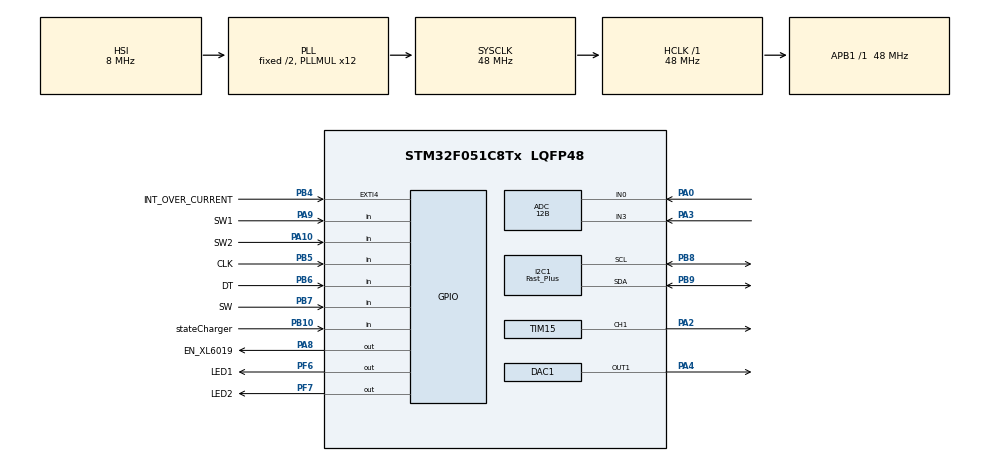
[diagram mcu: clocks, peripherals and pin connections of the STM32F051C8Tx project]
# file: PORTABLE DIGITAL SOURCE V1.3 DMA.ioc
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ADC.ContinuousConvMode=DISABLE
ADC.DMAContinuousRequests=DISABLE
ADC.DataAlign=ADC_DATAALIGN_RIGHT
ADC.DiscontinuousConvMode=DISABLE
ADC.EOCSelection=ADC_EOC_SINGLE_CONV
ADC.Resolution=ADC_RESOLUTION_12B
ADC.SamplingTime=ADC_SAMPLETIME_239CYCLES_5
ADC.ScanConvMode=ADC_SCAN_DIRECTION_FORWARD
DAC1.DAC_Trigger=DAC_TRIGGER_T6_TRGO
Dma.DAC1_CH1.1.Direction=DMA_MEMORY_TO_PERIPH
Dma.DAC1_CH1.1.Instance=DMA1_Channel3
Dma.DAC1_CH1.1.MemDataAlignment=DMA_MDATAALIGN_HALFWORD
Dma.DAC1_CH1.1.MemInc=DMA_MINC_ENABLE
Dma.DAC1_CH1.1.Mode=DMA_CIRCULAR
Dma.DAC1_CH1.1.PeriphDataAlignment=DMA_PDATAALIGN_HALFWORD
Dma.DAC1_CH1.1.PeriphInc=DMA_PINC_DISABLE
Dma.DAC1_CH1.1.Priority=DMA_PRIORITY_LOW
Dma.I2C1_TX.0.Direction=DMA_MEMORY_TO_PERIPH
Dma.I2C1_TX.0.Instance=DMA1_Channel2
Dma.I2C1_TX.0.MemDataAlignment=DMA_MDATAALIGN_BYTE
Dma.I2C1_TX.0.MemInc=DMA_MINC_ENABLE
Dma.I2C1_TX.0.Mode=DMA_NORMAL
Dma.I2C1_TX.0.PeriphDataAlignment=DMA_PDATAALIGN_BYTE
Dma.I2C1_TX.0.PeriphInc=DMA_PINC_DISABLE
Dma.I2C1_TX.0.Priority=DMA_PRIORITY_LOW
Dma.Request0=I2C1_TX
Dma.Request1=DAC1_CH1
I2C1.I2C_Speed_Mode=I2C_Fast_Plus
I2C1.Timing=0x00700814
Mcu.Family=STM32F0
Mcu.Name=STM32F051C8Tx
Mcu.Package=LQFP48
NVIC.DMA1_Channel2_3_IRQn=true\:3\:0\:true\:false\:true\:false\:true\:true
NVIC.EXTI4_15_IRQn=true\:0\:0\:false\:false\:true\:true\:true\:true
NVIC.I2C1_IRQn=true\:3\:0\:true\:false\:true\:true\:true\:true
NVIC.TIM14_IRQn=true\:3\:0\:true\:false\:true\:true\:true\:true
NVIC.TIM6_DAC_IRQn=true\:3\:0\:true\:false\:true\:true\:true\:true
PA0.Mode=IN0
PA0.Signal=ADC_IN0
PA10.GPIO_Label=SW2
PA10.GPIO_PuPd=GPIO_PULLUP
PA10.Signal=GPIO_Input
PA13.Mode=Serial_Wire
PA13.Signal=SYS_SWDIO
PA14.Mode=Serial_Wire
PA14.Signal=SYS_SWCLK
PA2.Signal=S_TIM15_CH1
PA3.Mode=IN3
PA3.Signal=ADC_IN3
PA4.Signal=COMP_DAC11_group
PA8.GPIO_Label=EN_XL6019
PA8.GPIO_PuPd=GPIO_NOPULL
PA8.Signal=GPIO_Output
PA9.GPIO_Label=SW1
PA9.GPIO_PuPd=GPIO_PULLUP
PA9.Signal=GPIO_Input
PB10.GPIO_Label=stateCharger
PB10.GPIO_PuPd=GPIO_PULLDOWN
PB10.Signal=GPIO_Input
PB4.GPIO_Label=INT_OVER_CURRENT
PB4.GPIO_ModeDefaultEXTI=GPIO_MODE_IT_RISING
PB4.GPIO_PuPd=GPIO_PULLDOWN
PB4.Signal=GPXTI4
PB5.GPIO_Label=CLK
PB5.GPIO_PuPd=GPIO_PULLUP
PB5.Signal=GPIO_Input
PB6.GPIO_Label=DT
PB6.GPIO_PuPd=GPIO_PULLUP
PB6.Signal=GPIO_Input
PB7.GPIO_Label=SW
PB7.GPIO_PuPd=GPIO_PULLUP
PB7.Signal=GPIO_Input
PB8.Mode=I2C
PB8.Signal=I2C1_SCL
PB9.Mode=I2C
PB9.Signal=I2C1_SDA
PF0-OSC_IN.Mode=HSE-External-Oscillator
PF0-OSC_IN.Signal=RCC_OSC_IN
PF1-OSC_OUT.Mode=HSE-External-Oscillator
PF1-OSC_OUT.Signal=RCC_OSC_OUT
PF6.GPIO_Label=LED1
PF6.Signal=GPIO_Output
PF7.GPIO_Label=LED2
PF7.Signal=GPIO_Output
ProjectManager.HeapSize=0x200
ProjectManager.StackSize=0x400
ProjectManager.TargetToolchain=STM32CubeIDE
RCC.AHBFreq_Value=48000000
RCC.APB1Freq_Value=48000000
RCC.APB1TimFreq_Value=48000000
RCC.HCLKFreq_Value=48000000
RCC.I2c1ClockSelection=RCC_I2C1CLKSOURCE_SYSCLK
RCC.PLLMUL=RCC_PLL_MUL12
RCC.SYSCLKFreq_VALUE=48000000
RCC.SYSCLKSource=RCC_SYSCLKSOURCE_PLLCLK
SH.COMP_DAC11_group.0=DAC1_OUT1,DAC_OUT1
SH.S_TIM15_CH1.0=TIM15_CH1,PWM Generation1 CH1
TIM14.Period=5-1
TIM14.Prescaler=48000-1
TIM15.Channel-PWM\ Generation1\ CH1=TIM_CHANNEL_1
TIM15.Period=20000-1
TIM15.Prescaler=24-1
TIM6.AutoReloadPreload=TIM_AUTORELOAD_PRELOAD_ENABLE
TIM6.Period=32000
TIM6.TIM_MasterOutputTrigger=TIM_TRGO_UPDATE
VP_TIM14_VS_ClockSourceINT.Mode=Enable_Timer
VP_TIM15_VS_ClockSourceINT.Mode=Internal
VP_TIM6_VS_ClockSourceINT.Mode=Enable_Timer
board=custom

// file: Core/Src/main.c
/* USER CODE BEGIN Header */
/**
  ******************************************************************************
  * @file           : main.c
  * @brief          : Main program body
  ******************************************************************************
  * @attention
  *
  * Copyright (c) 2023 STMicroelectronics.
  * All rights reserved.
  *
  * This software is licensed under terms that can be found in the LICENSE file
  * in the root directory of this software component.
  * If no LICENSE file comes with this software, it is provided AS-IS.
  *
  *******************************************************************************
  *
  * Author: Giovanny Anglas
  *  Created on:  Mayo 1, 2023 (aprox)
  *  Finished on: Octubre 26, 2023
  *
  ******************************************************************************
  */
/* USER CODE END Header */
#include "main.h"

/* USER CODE BEGIN Includes */
#include "stdio.h"
#include "math.h"

#include "Anglas_OLED_SSD1306.h"
#include "Anglas_IMAGENES.h"
#include "Anglas_ENCODER_ROT.h"
#include "Anglas_INA226.h"

#include "eeprom.h"
#include "eeprom_Config.h"
/* USER CODE END Includes */

ADC_HandleTypeDef hadc;

DAC_HandleTypeDef hdac1;
DMA_HandleTypeDef hdma_dac1_ch1;

I2C_HandleTypeDef hi2c1;
DMA_HandleTypeDef hdma_i2c1_tx;

TIM_HandleTypeDef htim6;
TIM_HandleTypeDef htim14;
TIM_HandleTypeDef htim15;

/* USER CODE BEGIN PV */
char buff[16];

float dac_12bits;
float power,current,voltage;
float Vbat,Vdac,set_Voltage_Encoder,difference;
static float limitCurrent;
float PWM,ENCO=0;
float rango=0.05,step=0.3;

uint8_t sumaSW1=0,contSW1=0,contSW2=0,powerSupply=0,muestrasADC=50;
uint8_t mem=0,mem1=0,mem2=0,memButton=0;
uint8_t suma=0,suma1=0,suma2=0;
uint8_t flagSW1=0,flagBattery=0,flag_Exceed_CurrentLimit=0;
uint8_t activate_Protec_Current=0;

uint32_t dacDMA[1];

extern float valor_Encoder;
extern float paso_Encoder;

uint8_t flagInicio=0;
uint8_t flagMode=0, flagModeSelect=1;

float adcVbat, adcNTC, TEMPERATURA;

/* USER CODE END PV */

void SystemClock_Config(void);
static void MX_GPIO_Init(void);
static void MX_DMA_Init(void);
static void MX_I2C1_Init(void);
static void MX_DAC1_Init(void);
static void MX_ADC_Init(void);
static void MX_TIM15_Init(void);
static void MX_TIM14_Init(void);
static void MX_TIM6_Init(void);
/* USER CODE BEGIN PFP */
void medirVoltage(void);
void medirCorriente(void);
void medirPotencia(void);
void Control_Estabilizar(void);
void PWM_set_Freq_DutyCycle(uint16_t freq, uint8_t duty, uint32_t tiempo);
void medirCargaBateria(void);
uint16_t cut_CurrenteLimit_ON(void);
uint16_t cut_CurrenteLimit_ON_Set(void);
void show_Exceed_CurrentLimit(void);
void update_Data_on_Display(void);
uint16_t Read_ADC(uint32_t channel);
void leerPromedioADC(void);
void medirVoltageBattery(void);
void medirTemperatura(void);
void calculate_value_dac_12bits(void);
void control_ButtonEncoder(void);
void control_SW1(void);
void control_SW2(void);
void delay_us(uint32_t time);
/* USER CODE END PFP */

int main(void)
{

  /* MCU Configuration--------------------------------------------------------*/

  /* Reset of all peripherals, Initializes the Flash interface and the Systick. */
  HAL_Init();

  /* Configure the system clock */
  SystemClock_Config();

  /* Initialize all configured peripherals */
  MX_GPIO_Init();
  MX_DMA_Init();
  MX_I2C1_Init();
  MX_DAC1_Init();
  MX_ADC_Init();
  MX_TIM15_Init();
  MX_TIM14_Init();
  MX_TIM6_Init();
  /* USER CODE BEGIN 2 */

  //Subir estas dos lineas solo la 1ra vez, luego dejarlas comentadas
  //ee_writeToRam(0, sizeof(float), (uint8_t*)&valor_Encoder);//escribo en al eeprom
  //ee_commit();

  ee_read(0, sizeof(float), (uint8_t*)&valor_Encoder);//leo el valor de la eeprom

  OLED_Init_DMA();
  OLED_Imagen_Small_DMA(2,0, AM_INTRO, 128, 64);
  OLED_Print_Text_DMA(1,0,1,"Designed by G. Anglas");
  HAL_GPIO_WritePin(LED2_GPIO_Port, LED2_Pin, SET);

  while(HAL_GPIO_ReadPin(SW2_GPIO_Port, SW2_Pin));

  OLED_Clear_DMA();
  HAL_GPIO_WritePin(LED2_GPIO_Port, LED2_Pin, RESET);
  HAL_Delay(200);
  //////////////////// MODOS ///////////////////////////////////
  while(flagMode==0){

	  if(!HAL_GPIO_ReadPin(SW1_GPIO_Port, SW1_Pin)){
		  HAL_Delay(180);
		  PWM_set_Freq_DutyCycle(4000,50,100);
		  flagModeSelect++;
		  OLED_Clear_DMA();
		  if(flagModeSelect>=4) flagModeSelect=1;
	  }

	  switch(flagModeSelect){
	  	case 1: OLED_Print_Text_DMA(0,0,2,"MODE 1: ENABLE");
				OLED_Print_Text_DMA(2,5,2, "CURRENT LIMIT");
				OLED_Print_Text_DMA(4,18,2,"PROTECTION");
				OLED_Imagen_Small_Invert_DMA(6, 0, Icon_Arrow, 13, 16);
				OLED_Imagen_Small_DMA(6, 113, Icon_Check, 13, 16);
				activate_Protec_Current = 0;
	  		break;
	  	case 2: OLED_Print_Text_DMA(0,0,2,"MODE 2:DISABLE");
				OLED_Print_Text_DMA(2,5,2, "CURRENT LIMIT");
				OLED_Print_Text_DMA(4,18,2,"PROTECTION");
				OLED_Imagen_Small_Invert_DMA(6, 0, Icon_Arrow, 13, 16);
				OLED_Imagen_Small_DMA(6, 113, Icon_Check, 13, 16);
				activate_Protec_Current = 1;
	  		break;
	  	case 3: OLED_Print_Text_DMA(0,0,2,"MODE 3:CHARGER");
				OLED_Print_Text_DMA(2,19,2, "FIXED 5.5V");
				OLED_Print_Text_DMA(4,37,2,"OUTPUT");
				OLED_Imagen_Small_Invert_DMA(6, 0, Icon_Arrow, 13, 16);
				OLED_Imagen_Small_DMA(6, 113, Icon_Check, 13, 16);
				activate_Protec_Current = 2;
	  		break;
	  }

	  if(!HAL_GPIO_ReadPin(SW2_GPIO_Port, SW2_Pin)) flagMode=1;
  }//end while(flagMode==0)
  ///////////////////////////////////////////////////////////////////

  HAL_TIM_Base_Start_IT(&htim14);//encoder
  HAL_TIM_Base_Start_IT(&htim6);//dac_dma
  HAL_ADC_Start(&hadc);
  HAL_DAC_Start_DMA(&hdac1, DAC_CHANNEL_1, (uint32_t *)dacDMA, 1, DAC_ALIGN_12B_R);

  OLED_Clear_DMA();

  INA226_Init_DMA(3.2768,25,AVG_64,T_Vbus_1_1ms,T_Vshunt_1_1ms,MODE_SHUNT_BUS_CONTINUOUS);

  //Aqui recien activos los modos ENABLE o DISABLE CURRENT LIMIT
  switch(activate_Protec_Current){//proteccion ENABLE
  	case 0: INA226_Mode_pinAlert_DMA(SHUNT_VOLTAGE_OVER);
	  	    flagInicio=0;//bandera para habilitar las interrupciones
  		break;
  	case 1: HAL_NVIC_DisableIRQ(EXTI4_15_IRQn);
	  	  	flagInicio=1;//bandera para no entrar a la condicion donde habilita las interrupciones
  		break;
  	case 2: INA226_Mode_pinAlert_DMA(SHUNT_VOLTAGE_OVER);
  			HAL_TIM_Base_Stop_IT(&htim14);//STOP ENCODER
	  		flagInicio=0;//bandera para habilitar las interrupciones
	  		set_Voltage_Encoder = 5.5;
  		break;
  }

  OLED_Print_Text_DMA(3,100,2,"OFF");
  OLED_Print_Text_DMA(5,104,1,"1.0");
  OLED_Print_Text_DMA(2,0,3,"0.0V ");
  OLED_Print_Text_DMA(6,25,2,"   0mA");
  OLED_Print_Text_DMA(7,96,1,"0.0W ");

  uint32_t startTime1=0; // Tiempo inicial timerShowAllData
  uint32_t startTime2=0; // Tiempo inicial timerShowIconBattery
  /* USER CODE END 2 */

  /* Infinite loop */
  /* USER CODE BEGIN WHILE */
  while (1){

	  update_Data_on_Display();
	  control_ButtonEncoder();

      //Modos de proteccion de sobrecorriente
      switch(activate_Protec_Current){
      	case 0: cut_CurrenteLimit_ON();break;//proteccion ENABLE
      	case 1: OLED_Print_Text_DMA(1,0,1,"Current: ----mA");break;//proteccion DISABLE
      	case 2: cut_CurrenteLimit_ON_Set();break;//proteccion ENABLE 5.5V 3000mA
      }

      control_SW2();
      if(activate_Protec_Current<2) control_SW1();//no mostrar el menu de V y mA en MODO 3

      //Mido el volaje de salida del XL6019 constantemente
      voltage = INA226_Vbus_DMA();
      current = INA226_Current_DMA();

      calculate_value_dac_12bits();
      Control_Estabilizar();

      leerPromedioADC();
      medirVoltageBattery();
      //if(Vbat <= 11.9 || Vbat >= 12.4) PWM_set_Freq_DutyCycle(4000,50,100);
      medirTemperatura();
      //if(TEMPERATURA <= 20.0 || TEMPERATURA >= 25) PWM_set_Freq_DutyCycle(1000,50,100);

      if (HAL_GetTick() - startTime1 >= 700){//cada 700ms mostrar en el display
    	  medirVoltage();
		  medirCorriente();
		  medirPotencia();
		  startTime1 = HAL_GetTick();
      }

      if (HAL_GetTick() - startTime2 >= 1000){//cada 1000ms mostrar en el display

    	  if(HAL_GPIO_ReadPin(stateCharger_GPIO_Port, stateCharger_Pin)==0){
    		  medirCargaBateria();
    	  }else{
    		  //blink icono bateria al momento de conectar el cargador
    		  flagBattery = !flagBattery;
    		  if(flagBattery) OLED_Imagen_Small_DMA(0, 96, chargerBattery, 32, 16);
    		  else 			  OLED_Imagen_Small_DMA(0, 96, chargerBattery2, 32, 16);
    	  }

    	    sprintf(buff,"%2.1fV",Vbat);//sprintf(buff,"%4.0f",adcVbat);
    	    OLED_Print_Text_DMA(2,98,1,buff);

    		sprintf(buff,"%3.0f|C",TEMPERATURA);//sprintf(buff,"%4.0f",adcNTC);
    		OLED_Print_Text_DMA(6,96,1,buff);

    	  startTime2 = HAL_GetTick();
      }

      //Activo las interrupciones despues de hacer todo el codigo 1 vez
      //Hago esto porque aveces iniciaba generando una interrupcion y daba el mensaje "show_Exceed_CurrentLimit()"
      //Esto pienso que es porque al incio el INA226 lee una corriente de 2000 o 3000mA y esto hace activar el pinAlert
      //Osea el pinAlert se activa de alguna manera y para evitar eso hago esta linea
      //Habilitando las interrupciones luego de hacer todo el codigo 1 vez y funciono
      //Verificar la linea 761 HAL_NVIC_EnableIRQ que este comentada, para que aqui recien se habilite la interrupcion
	  if(flagInicio==0){
		  HAL_NVIC_EnableIRQ(EXTI4_15_IRQn);
		  powerSupply=0;
		  flag_Exceed_CurrentLimit=0;
		  flagInicio=1;
	  }
    /* USER CODE END WHILE */

  }
}

void SystemClock_Config(void)
{
  RCC_OscInitTypeDef RCC_OscInitStruct = {0};
  RCC_ClkInitTypeDef RCC_ClkInitStruct = {0};
  RCC_PeriphCLKInitTypeDef PeriphClkInit = {0};

  /** Initializes the RCC Oscillators according to the specified parameters
  * in the RCC_OscInitTypeDef structure.
  */
  RCC_OscInitStruct.OscillatorType = RCC_OSCILLATORTYPE_HSI|RCC_OSCILLATORTYPE_HSI14;
  RCC_OscInitStruct.HSIState = RCC_HSI_ON;
  RCC_OscInitStruct.HSI14State = RCC_HSI14_ON;
  RCC_OscInitStruct.HSICalibrationValue = RCC_HSICALIBRATION_DEFAULT;
  RCC_OscInitStruct.HSI14CalibrationValue = 16;
  RCC_OscInitStruct.PLL.PLLState = RCC_PLL_ON;
  RCC_OscInitStruct.PLL.PLLSource = RCC_PLLSOURCE_HSI;
  RCC_OscInitStruct.PLL.PLLMUL = RCC_PLL_MUL12;
  RCC_OscInitStruct.PLL.PREDIV = RCC_PREDIV_DIV1;
  if (HAL_RCC_OscConfig(&RCC_OscInitStruct) != HAL_OK)
  {
    Error_Handler();
  }

  /** Initializes the CPU, AHB and APB buses clocks
  */
  RCC_ClkInitStruct.ClockType = RCC_CLOCKTYPE_HCLK|RCC_CLOCKTYPE_SYSCLK
                              |RCC_CLOCKTYPE_PCLK1;
  RCC_ClkInitStruct.SYSCLKSource = RCC_SYSCLKSOURCE_PLLCLK;
  RCC_ClkInitStruct.AHBCLKDivider = RCC_SYSCLK_DIV1;
  RCC_ClkInitStruct.APB1CLKDivider = RCC_HCLK_DIV1;

  if (HAL_RCC_ClockConfig(&RCC_ClkInitStruct, FLASH_LATENCY_1) != HAL_OK)
  {
    Error_Handler();
  }
  PeriphClkInit.PeriphClockSelection = RCC_PERIPHCLK_I2C1;
  PeriphClkInit.I2c1ClockSelection = RCC_I2C1CLKSOURCE_SYSCLK;
  if (HAL_RCCEx_PeriphCLKConfig(&PeriphClkInit) != HAL_OK)
  {
    Error_Handler();
  }
}

static void MX_ADC_Init(void)
{

  ADC_ChannelConfTypeDef sConfig = {0};

  /** Configure the global features of the ADC (Clock, Resolution, Data Alignment and number of conversion)
  */
  hadc.Instance = ADC1;
  hadc.Init.ClockPrescaler = ADC_CLOCK_ASYNC_DIV1;
  hadc.Init.Resolution = ADC_RESOLUTION_12B;
  hadc.Init.DataAlign = ADC_DATAALIGN_RIGHT;
  hadc.Init.ScanConvMode = ADC_SCAN_DIRECTION_FORWARD;
  hadc.Init.EOCSelection = ADC_EOC_SINGLE_CONV;
  hadc.Init.LowPowerAutoWait = DISABLE;
  hadc.Init.LowPowerAutoPowerOff = DISABLE;
  hadc.Init.ContinuousConvMode = DISABLE;
  hadc.Init.DiscontinuousConvMode = DISABLE;
  hadc.Init.ExternalTrigConv = ADC_SOFTWARE_START;
  hadc.Init.ExternalTrigConvEdge = ADC_EXTERNALTRIGCONVEDGE_NONE;
  hadc.Init.DMAContinuousRequests = DISABLE;
  hadc.Init.Overrun = ADC_OVR_DATA_PRESERVED;
  if (HAL_ADC_Init(&hadc) != HAL_OK)
  {
    Error_Handler();
  }

  /** Configure for the selected ADC regular channel to be converted.
  */
  sConfig.Channel = ADC_CHANNEL_0;
  sConfig.Rank = ADC_RANK_CHANNEL_NUMBER;
  sConfig.SamplingTime = ADC_SAMPLETIME_239CYCLES_5;
  if (HAL_ADC_ConfigChannel(&hadc, &sConfig) != HAL_OK)
  {
    Error_Handler();
  }

  /** Configure for the selected ADC regular channel to be converted.
  */
  sConfig.Channel = ADC_CHANNEL_3;
  if (HAL_ADC_ConfigChannel(&hadc, &sConfig) != HAL_OK)
  {
    Error_Handler();
  }

}

static void MX_DAC1_Init(void)
{

  DAC_ChannelConfTypeDef sConfig = {0};

  /** DAC Initialization
  */
  hdac1.Instance = DAC;
  if (HAL_DAC_Init(&hdac1) != HAL_OK)
  {
    Error_Handler();
  }

  /** DAC channel OUT1 config
  */
  sConfig.DAC_Trigger = DAC_TRIGGER_T6_TRGO;
  sConfig.DAC_OutputBuffer = DAC_OUTPUTBUFFER_ENABLE;
  if (HAL_DAC_ConfigChannel(&hdac1, &sConfig, DAC_CHANNEL_1) != HAL_OK)
  {
    Error_Handler();
  }

}

static void MX_I2C1_Init(void)
{

  hi2c1.Instance = I2C1;
  hi2c1.Init.Timing = 0x00700814;
  hi2c1.Init.OwnAddress1 = 0;
  hi2c1.Init.AddressingMode = I2C_ADDRESSINGMODE_7BIT;
  hi2c1.Init.DualAddressMode = I2C_DUALADDRESS_DISABLE;
  hi2c1.Init.OwnAddress2 = 0;
  hi2c1.Init.OwnAddress2Masks = I2C_OA2_NOMASK;
  hi2c1.Init.GeneralCallMode = I2C_GENERALCALL_DISABLE;
  hi2c1.Init.NoStretchMode = I2C_NOSTRETCH_DISABLE;
  if (HAL_I2C_Init(&hi2c1) != HAL_OK)
  {
    Error_Handler();
  }

  /** Configure Analogue filter
  */
  if (HAL_I2CEx_ConfigAnalogFilter(&hi2c1, I2C_ANALOGFILTER_ENABLE) != HAL_OK)
  {
    Error_Handler();
  }

  /** Configure Digital filter
  */
  if (HAL_I2CEx_ConfigDigitalFilter(&hi2c1, 0) != HAL_OK)
  {
    Error_Handler();
  }

  /** I2C Fast mode Plus enable
  */
  __HAL_SYSCFG_FASTMODEPLUS_ENABLE(I2C_FASTMODEPLUS_I2C1);

}

static void MX_TIM6_Init(void)
{

  TIM_MasterConfigTypeDef sMasterConfig = {0};

  htim6.Instance = TIM6;
  htim6.Init.Prescaler = 0;
  htim6.Init.CounterMode = TIM_COUNTERMODE_UP;
  htim6.Init.Period = 32000;
  htim6.Init.AutoReloadPreload = TIM_AUTORELOAD_PRELOAD_ENABLE;
  if (HAL_TIM_Base_Init(&htim6) != HAL_OK)
  {
    Error_Handler();
  }
  sMasterConfig.MasterOutputTrigger = TIM_TRGO_UPDATE;
  sMasterConfig.MasterSlaveMode = TIM_MASTERSLAVEMODE_DISABLE;
  if (HAL_TIMEx_MasterConfigSynchronization(&htim6, &sMasterConfig) != HAL_OK)
  {
    Error_Handler();
  }

}

static void MX_TIM14_Init(void)
{

  htim14.Instance = TIM14;
  htim14.Init.Prescaler = 48000-1;
  htim14.Init.CounterMode = TIM_COUNTERMODE_UP;
  htim14.Init.Period = 5-1;
  htim14.Init.ClockDivision = TIM_CLOCKDIVISION_DIV1;
  htim14.Init.AutoReloadPreload = TIM_AUTORELOAD_PRELOAD_DISABLE;
  if (HAL_TIM_Base_Init(&htim14) != HAL_OK)
  {
    Error_Handler();
  }

}

static void MX_TIM15_Init(void)
{

  TIM_ClockConfigTypeDef sClockSourceConfig = {0};
  TIM_MasterConfigTypeDef sMasterConfig = {0};
  TIM_OC_InitTypeDef sConfigOC = {0};
  TIM_BreakDeadTimeConfigTypeDef sBreakDeadTimeConfig = {0};

  htim15.Instance = TIM15;
  htim15.Init.Prescaler = 24-1;
  htim15.Init.CounterMode = TIM_COUNTERMODE_UP;
  htim15.Init.Period = 20000-1;
  htim15.Init.ClockDivision = TIM_CLOCKDIVISION_DIV1;
  htim15.Init.RepetitionCounter = 0;
  htim15.Init.AutoReloadPreload = TIM_AUTORELOAD_PRELOAD_DISABLE;
  if (HAL_TIM_Base_Init(&htim15) != HAL_OK)
  {
    Error_Handler();
  }
  sClockSourceConfig.ClockSource = TIM_CLOCKSOURCE_INTERNAL;
  if (HAL_TIM_ConfigClockSource(&htim15, &sClockSourceConfig) != HAL_OK)
  {
    Error_Handler();
  }
  if (HAL_TIM_PWM_Init(&htim15) != HAL_OK)
  {
    Error_Handler();
  }
  sMasterConfig.MasterOutputTrigger = TIM_TRGO_RESET;
  sMasterConfig.MasterSlaveMode = TIM_MASTERSLAVEMODE_DISABLE;
  if (HAL_TIMEx_MasterConfigSynchronization(&htim15, &sMasterConfig) != HAL_OK)
  {
    Error_Handler();
  }
  sConfigOC.OCMode = TIM_OCMODE_PWM1;
  sConfigOC.Pulse = 0;
  sConfigOC.OCPolarity = TIM_OCPOLARITY_HIGH;
  sConfigOC.OCNPolarity = TIM_OCNPOLARITY_HIGH;
  sConfigOC.OCFastMode = TIM_OCFAST_DISABLE;
  sConfigOC.OCIdleState = TIM_OCIDLESTATE_RESET;
  sConfigOC.OCNIdleState = TIM_OCNIDLESTATE_RESET;
  if (HAL_TIM_PWM_ConfigChannel(&htim15, &sConfigOC, TIM_CHANNEL_1) != HAL_OK)
  {
    Error_Handler();
  }
  sBreakDeadTimeConfig.OffStateRunMode = TIM_OSSR_DISABLE;
  sBreakDeadTimeConfig.OffStateIDLEMode = TIM_OSSI_DISABLE;
  sBreakDeadTimeConfig.LockLevel = TIM_LOCKLEVEL_OFF;
  sBreakDeadTimeConfig.DeadTime = 0;
  sBreakDeadTimeConfig.BreakState = TIM_BREAK_DISABLE;
  sBreakDeadTimeConfig.BreakPolarity = TIM_BREAKPOLARITY_HIGH;
  sBreakDeadTimeConfig.AutomaticOutput = TIM_AUTOMATICOUTPUT_DISABLE;
  if (HAL_TIMEx_ConfigBreakDeadTime(&htim15, &sBreakDeadTimeConfig) != HAL_OK)
  {
    Error_Handler();
  }
  HAL_TIM_MspPostInit(&htim15);

}

static void MX_DMA_Init(void)
{

  /* DMA controller clock enable */
  __HAL_RCC_DMA1_CLK_ENABLE();

  /* DMA interrupt init */
  /* DMA1_Channel2_3_IRQn interrupt configuration */
  HAL_NVIC_SetPriority(DMA1_Channel2_3_IRQn, 3, 0);
  HAL_NVIC_EnableIRQ(DMA1_Channel2_3_IRQn);

}

static void MX_GPIO_Init(void)
{
  GPIO_InitTypeDef GPIO_InitStruct = {0};

  /* GPIO Ports Clock Enable */
  __HAL_RCC_GPIOF_CLK_ENABLE();
  __HAL_RCC_GPIOA_CLK_ENABLE();
  __HAL_RCC_GPIOB_CLK_ENABLE();

  /*Configure GPIO pin Output Level */
  HAL_GPIO_WritePin(EN_XL6019_GPIO_Port, EN_XL6019_Pin, GPIO_PIN_RESET);

  /*Configure GPIO pin Output Level */
  HAL_GPIO_WritePin(GPIOF, LED1_Pin|LED2_Pin, GPIO_PIN_RESET);

  /*Configure GPIO pin : stateCharger_Pin */
  GPIO_InitStruct.Pin = stateCharger_Pin;
  GPIO_InitStruct.Mode = GPIO_MODE_INPUT;
  GPIO_InitStruct.Pull = GPIO_PULLDOWN;
  HAL_GPIO_Init(stateCharger_GPIO_Port, &GPIO_InitStruct);

  /*Configure GPIO pin : EN_XL6019_Pin */
  GPIO_InitStruct.Pin = EN_XL6019_Pin;
  GPIO_InitStruct.Mode = GPIO_MODE_OUTPUT_PP;
  GPIO_InitStruct.Pull = GPIO_NOPULL;
  GPIO_InitStruct.Speed = GPIO_SPEED_FREQ_LOW;
  HAL_GPIO_Init(EN_XL6019_GPIO_Port, &GPIO_InitStruct);

  /*Configure GPIO pins : SW1_Pin SW2_Pin */
  GPIO_InitStruct.Pin = SW1_Pin|SW2_Pin;
  GPIO_InitStruct.Mode = GPIO_MODE_INPUT;
  GPIO_InitStruct.Pull = GPIO_PULLUP;
  HAL_GPIO_Init(GPIOA, &GPIO_InitStruct);

  /*Configure GPIO pins : LED1_Pin LED2_Pin */
  GPIO_InitStruct.Pin = LED1_Pin|LED2_Pin;
  GPIO_InitStruct.Mode = GPIO_MODE_OUTPUT_PP;
  GPIO_InitStruct.Pull = GPIO_NOPULL;
  GPIO_InitStruct.Speed = GPIO_SPEED_FREQ_LOW;
  HAL_GPIO_Init(GPIOF, &GPIO_InitStruct);

  /*Configure GPIO pin : INT_OVER_CURRENT_Pin */
  GPIO_InitStruct.Pin = INT_OVER_CURRENT_Pin;
  GPIO_InitStruct.Mode = GPIO_MODE_IT_RISING;
  GPIO_InitStruct.Pull = GPIO_PULLDOWN;
  HAL_GPIO_Init(INT_OVER_CURRENT_GPIO_Port, &GPIO_InitStruct);

  /*Configure GPIO pins : CLK_Pin DT_Pin SW_Pin */
  GPIO_InitStruct.Pin = CLK_Pin|DT_Pin|SW_Pin;
  GPIO_InitStruct.Mode = GPIO_MODE_INPUT;
  GPIO_InitStruct.Pull = GPIO_PULLUP;
  HAL_GPIO_Init(GPIOB, &GPIO_InitStruct);

  /* EXTI interrupt init*/
  HAL_NVIC_SetPriority(EXTI4_15_IRQn, 0, 0);
  //HAL_NVIC_EnableIRQ(EXTI4_15_IRQn);

}

/* USER CODE BEGIN 4 */
void HAL_GPIO_EXTI_Callback(uint16_t GPIO_Pin){//interrupcion externa que viene de pinAlert del INA226
	powerSupply=3;
	flag_Exceed_CurrentLimit=1;
}

void HAL_TIM_PeriodElapsedCallback(TIM_HandleTypeDef *htim) {
	if (htim->Instance == TIM14) {//Leemos el encoder cada 5ms
		set_Voltage_Encoder = Encoder_Run();
	}
}

void medirVoltage(void){
	voltage = INA226_Vbus_DMA();
	if(voltage <= 9.99999) {
    	sprintf(buff,"%1.1fV ",voltage);
    	OLED_Print_Text_DMA(2,0,3,buff);
    	//cuado cambia de 9.9v a 10v se ve afectado estas variables y por momentos se borran
		sprintf(buff,"%2.1fV",Vbat);
		OLED_Print_Text_DMA(2,98,1,buff);
		if(powerSupply==2) OLED_Print_Text_DMA(3,100,2,"ON ");
    }else{
    	sprintf(buff,"%2.1fV",voltage);
    	OLED_Print_Text_DMA(2,0,3,buff);
    	//cuado cambia de 9.9v a 10v se ve afectado estas variables y por momentos se borran
    	sprintf(buff,"%2.1fV",Vbat);
		OLED_Print_Text_DMA(2,98,1,buff);
		if(powerSupply==2) OLED_Print_Text_DMA(3,100,2,"ON ");
    }
}

void medirCorriente(void){
	current = INA226_Current_DMA();
	if(current>=0){
		sprintf(buff,"%4.0fmA",current);
		OLED_Print_Text_DMA(6,25,2,buff);
	}else{
		OLED_Print_Text_DMA(6,25,2,"   0mA");
	}
}

void medirPotencia(void){
	power = INA226_Power_DMA();
    if(power>=0){
	    sprintf(buff,"%2.1fW ",power);
	    OLED_Print_Text_DMA(7,96,1,buff);
    }else{
	    OLED_Print_Text_DMA(7,96,1,"0.0W ");
    }
}

void Control_Estabilizar(void){

	if(set_Voltage_Encoder > voltage){
		difference = set_Voltage_Encoder - voltage;

		if(set_Voltage_Encoder >= 0.5){
			if(difference>=0.001 && difference<=rango){
				ENCO=ENCO-step;
			}else if(difference>rango && difference<=rango*2){
				ENCO=ENCO-step;
			}else if(difference>rango*2 && difference<=rango*3){
				ENCO=ENCO-step;
			}else if(difference>rango*3 && difference<=rango*4){
				ENCO=ENCO-step;
			}else if(difference>rango*4 && difference<=rango*5){
				ENCO=ENCO-step;
			}else if(difference>rango*5 && difference<=rango*6){
				ENCO=ENCO-step*2;
			}else if(difference>rango*6 && difference<=rango*7){
				ENCO=ENCO-step*3;
			}else if(difference>rango*7 && difference<=rango*8){
				ENCO=ENCO-step*4;
			}
			PWM = dac_12bits+ENCO;
			dacDMA[0]=PWM;
		}else{
	    	//Cuando la diferencia era menor a 0.5V, es decir cuando seteamos el voltaje a 0.4V entonces el "sprintf(buff,"%4.0f",PWM)"
	    	//empezaba a disminuir y eso era porq "difference<=rango*8" -> difference <= 0.4 e ingresaba a ENCO=ENCO-step*4;

			if(difference>=0.001 && difference<=rango){
				ENCO=ENCO-step;
			}
			PWM = dac_12bits+ENCO;
			dacDMA[0]=PWM;
		}
	}

	if(set_Voltage_Encoder < voltage){
		difference = voltage - set_Voltage_Encoder;
		if(difference>=0.001 && difference<=rango){
			ENCO=ENCO+step;
		}else if(difference>rango && difference<=rango*2){
			ENCO=ENCO+step;
		}else if(difference>rango*2 && difference<=rango*3){
			ENCO=ENCO+step;
		}else if(difference>rango*3 && difference<=rango*4){
			ENCO=ENCO+step;
		}else if(difference>rango*4 && difference<=rango*5){
			ENCO=ENCO+step;
		}else if(difference>rango*5 && difference<=rango*6){
			ENCO=ENCO+step*2;
		}else if(difference>rango*6 && difference<=rango*7){
			ENCO=ENCO+step*3;
		}else if(difference>rango*7 && difference<=rango*8){
			ENCO=ENCO+step*4;
		}
		PWM = dac_12bits+ENCO;
		dacDMA[0]=PWM;
	}

}

void PWM_set_Freq_DutyCycle(uint16_t freq, uint8_t duty, uint32_t tiempo){
	uint16_t valor_CCR;
	uint32_t freqOsc = 48000000;//Hz
	uint16_t prescaler = 24;//24-1     PSC-16bits

	if(duty > 100) duty = 100;
	freq = freqOsc/(freq*prescaler);

    HAL_TIM_PWM_Start(&htim15, TIM_CHANNEL_1);
	__HAL_TIM_SET_AUTORELOAD(&htim15,freq);//Si quiero cambiar la frecuencia modifico: __HAL_TIM_SET_AUTORELOAD(&htim15, frecuencia que quiero)
	valor_CCR = (__HAL_TIM_GET_AUTORELOAD(&htim15)+1)*duty/100;//__HAL_TIM_GET_AUTORELOAD(&htim15): esto es el valor de 10-1 osea 9, por eso le sumo 1 para volver a tener 10, y por 0.5 ya que quiero 50% del duty cycle
    __HAL_TIM_SET_COMPARE(&htim15, TIM_CHANNEL_1, valor_CCR);
    HAL_Delay(tiempo);
    HAL_TIM_PWM_Stop(&htim15, TIM_CHANNEL_1);
}

void medirCargaBateria(void){
	if(Vbat>9 && Vbat<=9.9){
		OLED_Imagen_Small_DMA(0, 96, bateria0, 32, 16);
	}else if(Vbat>9.9 && Vbat<=10.5){
		OLED_Imagen_Small_DMA(0, 96, bateria25, 32, 16);
	}else if(Vbat>10.5 && Vbat<=11.1){
		OLED_Imagen_Small_DMA(0, 96, bateria50, 32, 16);
	}else if(Vbat>11.1 && Vbat<=11.7){
		OLED_Imagen_Small_DMA(0, 96, bateria75, 32, 16);
	}else if(Vbat>11.7 && Vbat<=12.6){
		OLED_Imagen_Small_DMA(0, 96, bateria100, 32, 16);
	}
}

uint16_t cut_CurrenteLimit_ON(void){
	limitCurrent = -0.012 * pow(set_Voltage_Encoder, 4) + 0.7163 * pow(set_Voltage_Encoder, 3) - 11.064 * pow(set_Voltage_Encoder, 2) - 59 * set_Voltage_Encoder + 2541.3;
	INA226_Alert_Limit_DMA(limitCurrent);
	sprintf(buff,"Current: %4.0fmA",limitCurrent);
	OLED_Print_Text_DMA(1,0,1,buff);
	return INA226_Alert_Limit_DMA(limitCurrent);
}

uint16_t cut_CurrenteLimit_ON_Set(void){
	limitCurrent = 3000;
	INA226_Alert_Limit_DMA(limitCurrent);
	sprintf(buff,"Current: %4.0fmA",limitCurrent);
	OLED_Print_Text_DMA(1,0,1,buff);
	return INA226_Alert_Limit_DMA(limitCurrent);
}

void show_Exceed_CurrentLimit(void){
	powerSupply=0;
	HAL_GPIO_WritePin(EN_XL6019_GPIO_Port, EN_XL6019_Pin, RESET);
	HAL_GPIO_WritePin(LED2_GPIO_Port, LED2_Pin, RESET);

	OLED_Clear_DMA();

    sprintf(buff,"%2.1fV ",set_Voltage_Encoder);
    OLED_Print_Text_DMA(2,45,2,buff);

	OLED_Print_Text_DMA(0,0,1,"EXCEEDS CURRENT LIMIT");
	OLED_Print_Text_DMA(1,0,1,"   AT A VOLTAGE OF   ");
	//MODO 1
	//MODO 2,nunca ingresara a show_Exceed_CurrentLimit, porque la interrupcion esta disable
	//MODO 3, corte por 5.5V 3000mA
	sprintf(buff,"%4.0fmA",limitCurrent);
	OLED_Print_Text_DMA(4,0,3,buff);

	for(uint8_t i=0; i<3; i++){
		HAL_GPIO_WritePin(LED1_GPIO_Port, LED1_Pin, SET);
		HAL_GPIO_WritePin(LED2_GPIO_Port, LED2_Pin, SET);
		PWM_set_Freq_DutyCycle(3850,50,300);
		HAL_Delay(200);
		HAL_GPIO_WritePin(LED1_GPIO_Port, LED1_Pin, RESET);
		HAL_GPIO_WritePin(LED2_GPIO_Port, LED2_Pin, RESET);
		HAL_Delay(200);
	}
	HAL_Delay(1500);
	flag_Exceed_CurrentLimit=0;
	OLED_Clear_DMA();
}

void update_Data_on_Display(void){//actualizo 0.1, OFF, que no son tan relevantes
	// Pasos del encoder 1.0  o  0.1
	sprintf(buff,"%1.1f",paso_Encoder);
	OLED_Print_Text_DMA(5,104,1,buff);

	//ON OFF del XL6019
	if(powerSupply==2) OLED_Print_Text_DMA(3,100,2,"ON ");
	if(powerSupply==0) OLED_Print_Text_DMA(3,100,2,"OFF");

    //Ver el PID
    //sprintf(buff,"%4.0f",PWM);
    //OLED_Print_Text_DMA(6,96,1,buff);

    //Muestro el voltaje seteado(voltaje de salida deseado)
    sprintf(buff,"Voltage: %2.1fV ",set_Voltage_Encoder);
    OLED_Print_Text_DMA(0,0,1,buff);
}

uint16_t Read_ADC(uint32_t channel){
    ADC_ChannelConfTypeDef sConfig = {0};
    sConfig.Channel = channel;
    sConfig.Rank = ADC_RANK_CHANNEL_NUMBER;
    sConfig.SamplingTime = ADC_SAMPLETIME_239CYCLES_5;
    HAL_ADC_ConfigChannel(&hadc, &sConfig);

    HAL_ADC_Start(&hadc);
    HAL_ADC_PollForConversion(&hadc, 10);
    return HAL_ADC_GetValue(&hadc);
}

#define N_SAMPLES 250
void leerPromedioADC(void){

	static uint16_t adc0_samples[N_SAMPLES];
	static uint16_t adc3_samples[N_SAMPLES];

    for(int i=0; i<N_SAMPLES; i++){
    	//leer si o si juntos sino no funciona
        adc0_samples[i] = Read_ADC(ADC_CHANNEL_0);
        adc3_samples[i] = Read_ADC(ADC_CHANNEL_3);
        delay_us(20);//muy importante este delay
    }

    float sum0=0, sum3=0;
    for(int i=0;i<N_SAMPLES;i++){
        sum0 += adc0_samples[i];
        sum3 += adc3_samples[i];
    }

    adcVbat = sum0 / N_SAMPLES;
    adcNTC  = sum3 / N_SAMPLES;
}

void medirVoltageBattery(void){
	Vbat = adcVbat*0.003587;//(3.3/2^16)*4.3 ------ divisor resistivo V*10k/(10K+33K) -> V = 4.3
    //sprintf(buff,"%2.1fV",Vbat);
    //OLED_Print_Text_DMA(2,98,1,buff);
}

void medirTemperatura(void){
	//Estoy usando un NTC de 30Kohmios y R1 debe ser el doble o un poco mas
    const float R1 = 46650;// resistencia fija del divisor de tension a GND
    static float logR2, R2;
    //coeficientes de S-H en pagina: http://www.thinksrs.com/downloads/programs/Therm%20Calc/NTCCalibrator/NTCcalculator.html
    const float c1 = 2.095678276e-03, c2 = 0.6001278570e-04, c3 = 5.838641344e-07;

    R2 = R1 * ((4096.0 /adcNTC) - 1.0);	// conversion de tension a resistencia
    logR2 = logf(R2);
    TEMPERATURA = ((1.0 / (c1 + c2*logR2 + c3*logR2*logR2*logR2))-273.15);// ecuacion S-H, +6 para calibrar

	//sprintf(buff,"%3.0f|C",TEMPERATURA);
	//OLED_Print_Text_DMA(6,96,1,buff);
}

void calculate_value_dac_12bits(void){
	/* Calculo el valor "dac_12bits"(0-4095) a partir del set_Voltage_Encoder(0-30V) y Vdac(0-3.3V)
	 *
	 * La formula es la siguiente:
     * set_Voltage_Encoder = Vref+(((Vref/R2)+((Vref-Vdac)/R3))*R1);
     *
     * Para  R1=560k, R2=39k, R3=56k y Vref=1.25, se reduce a:
     * set_Voltage_Encoder = 31.7 - 10*Vdac
     * Vdac = 3.17 - set_Voltage_Encoder*0.1   // set_Voltage_Encoder = valor de dac_12bits (0.0-30.0V);
     *
     * Vdac = dac_12bits*3.26/4096.0;
     * dac_12bits = Vdac*4096.0/3.26
     *
     * Formula para corregier la salida: (8.0E-06 * dac_12bits * dac_12bits + 0.002 * dac_12bits + 1.1844);
    */

    //Calculo el valor "dac_12bits"(0-4095) a partir del set_Voltage_Encoder(0-30V) y Vdac(0-3.3V)
    Vdac = 3.1677 - set_Voltage_Encoder*0.09825;//coloque R1=560k pero para mejorar los calculos utilizo el valor de 570k y obtuve esta formula
    dac_12bits = Vdac * 4096.0/3.3;//teniendo el Voltaje de salida del dac, calculo "dac_12bits" osea un valor de 0-4095

    //para visualizar el valor de 0-4095 de la salida
    //float DDDAAACCC;DDDAAACCC = dac_12bits;sprintf(buff,"%4.0f",DDDAAACCC);OLED_Print_Text_DMA(6,0,1,buff);

    //dac_12bits = dac_12bits - (8.0E-06 * dac_12bits * dac_12bits + 0.002 * dac_12bits + 1.1844);//corrigo el valor del dac_12bits para acercarse lo mas posible al voltaje seteado(set_Voltage_Encoder)
    dac_12bits = (1.002* dac_12bits - 45);//corrigo el valor del dac_12bits para acercarse lo mas posible al voltaje seteado(set_Voltage_Encoder)
}

void control_ButtonEncoder(void){
	//Control del pulsador del ENCODER (SW)
    if(HAL_GPIO_ReadPin(SW_GPIO_Port, SW_Pin) == 0 && mem == 0){mem = 1;}
    if(HAL_GPIO_ReadPin(SW_GPIO_Port, SW_Pin) == 1 && mem == 1){suma++; mem = 0;}
    if(suma==1){suma=2;paso_Encoder = 0.1;OLED_Print_Text_DMA(5,104,1,"0.1");}
    if(suma==3){suma=0;paso_Encoder = 1.0;OLED_Print_Text_DMA(5,104,1,"1.0");}

    // Mantener presionado el SW por 2 segundos para encender o apagar el XL6019
    if (HAL_GPIO_ReadPin(SW_GPIO_Port, SW_Pin) == 0) {
        uint32_t startTime = HAL_GetTick();  //Guardar el tiempo en que se presionó el botón
        // Esperar mientras el botón está presionado
        while (HAL_GPIO_ReadPin(SW_GPIO_Port, SW_Pin) == 0) {
            if (HAL_GetTick() - startTime >= 1200) {  // Si han pasado 1.2 segundos
            	//para no modificar paso_Encoder agrego estas condiciones
            	if(suma==2) suma=0;
            	else if(suma==0) suma=2;

                //HAL_GPIO_TogglePin(LED1_GPIO_Port, LED1_Pin);
                NVIC_SystemReset();  // 🔥 resetea el micro
                break;  // Salir del bucle
            }
        }
    }
}

void control_SW1(void){
    //Control del pulsador SW1 - VOUT FIJOS 3.3, 5, 9, 12, 15 y 24
    //solo funciona cuando esta desactivada la salida de voltaje (powerSupply==0)

	//Garantiza que el contSW1 siempre inicie de 0
	if(HAL_GPIO_ReadPin(SW1_GPIO_Port, SW1_Pin) == 1 && contSW1>0){contSW1=0;}

    if(HAL_GPIO_ReadPin(SW1_GPIO_Port, SW1_Pin) == 0 && mem1 == 0 && powerSupply==0){mem1 = 1;}
    if(HAL_GPIO_ReadPin(SW1_GPIO_Port, SW1_Pin) == 0 && mem1 == 1 && powerSupply==0){
  	  contSW1++;

  	  if(contSW1>15){//25=2.5seg aprox presionado
  		  HAL_TIM_Base_Stop_IT(&htim14);//desactivo la lectura del encoder
  		  HAL_GPIO_WritePin(LED1_GPIO_Port, LED1_Pin, SET);
  		  OLED_Clear_DMA();
		  OLED_Print_Text_DMA(0,27,1," 1.8V 2500mA");
		  OLED_Print_Text_DMA(1,27,1," 3.3V 2250mA");
		  OLED_Print_Text_DMA(2,27,1," 5.0V 2000mA");
		  OLED_Print_Text_DMA(3,27,1," 9.0V 1250mA");
		  OLED_Print_Text_DMA(4,27,1,"12.0V 1000mA");
		  OLED_Print_Text_DMA(5,27,1,"15.0V  750mA");
		  OLED_Print_Text_DMA(6,27,1,"24.0V  500mA");
		  OLED_Print_Text_DMA(7,27,1,"30.0V  250mA");

		  mem1 = 0;
		  contSW1=0;
		  flagSW1 = 1;

  		  for(uint8_t i=0; i<3; i++){
  			  PWM_set_Freq_DutyCycle(2000,50,100);
  			  HAL_Delay(100);
  		  }

  		  HAL_Delay(1000);//tiempo para soltar el pulsador luego de entrar a esta pantalla o de escuchar el buzzer

		  while(flagSW1 == 1){
			  if(HAL_GPIO_ReadPin(SW1_GPIO_Port, SW1_Pin) == 0 && mem1 == 0){mem1 = 1;}
			  if(HAL_GPIO_ReadPin(SW1_GPIO_Port, SW1_Pin) == 1 && mem1 == 1 && contSW1<=10){sumaSW1++; mem1 = 0; contSW1=0;}
			  if(sumaSW1==1) {sumaSW1=0; OLED_Clear_DMA(); flagSW1=0;}
		  }

		  HAL_TIM_Base_Start_IT(&htim14);//activo nuevamente la lectura del encoder
		  HAL_GPIO_WritePin(LED1_GPIO_Port, LED1_Pin, RESET);
  	  }
    }

    if(HAL_GPIO_ReadPin(SW1_GPIO_Port, SW1_Pin) == 1 && mem1 == 1 && contSW1<=10){suma1++; mem1 = 0; contSW1=0;}//aqui no se si importa el powerSupply==0, pero funciona!

    //Valores de voltajes fijos establecidos
    if(suma1==1) {suma1=2; valor_Encoder = 3.3; }
    if(suma1==3) {suma1=4; valor_Encoder = 5.0; }
    if(suma1==5) {suma1=6; valor_Encoder = 9.0; }
    if(suma1==7) {suma1=8; valor_Encoder = 12.0;}
    if(suma1==9) {suma1=10;valor_Encoder = 15.0;}
    if(suma1==11){suma1=0; valor_Encoder = 24.0;}
}

void control_SW2(void){
    //Mantener presionado el SW2 por cierto tiempo, para encender o apagar el XL6019
    if(HAL_GPIO_ReadPin(SW2_GPIO_Port, SW2_Pin) == 0){
  	  contSW2++;
  	  if(contSW2>15){// 1.5seg aprox
  		  contSW2=0;
  		  powerSupply++;
  	  }
    }

    //Garantiza que el contSW2 siempre inicie de 0
    if(HAL_GPIO_ReadPin(SW2_GPIO_Port, SW2_Pin) == 1 && contSW2>0){contSW2=0;}

    //Salida de voltaje de XL6019 ON
    if(powerSupply==1){
  	  powerSupply=2;
  	  HAL_GPIO_WritePin(EN_XL6019_GPIO_Port, EN_XL6019_Pin, SET);
  	  HAL_Delay(7);//tiempo minimo que necesita para detectar la sobrecorriente al habilitar el XL6019

      if(flag_Exceed_CurrentLimit==1){
    	  show_Exceed_CurrentLimit();
      }else{
    	  OLED_Print_Text_DMA(3,100,2,"ON ");
    	  HAL_GPIO_WritePin(LED2_GPIO_Port, LED2_Pin, SET);
    	  PWM_set_Freq_DutyCycle(4000,50,100);

    	  ee_writeToRam(0, sizeof(float), (uint8_t*)&valor_Encoder);//escribo en al eeprom
    	  ee_commit();
      }
    }

    //Salida de voltaje de XL6019 OFF, luego de detectar sobrecorriente
    if(powerSupply==3 && flag_Exceed_CurrentLimit==1){
  	  powerSupply=0;
  	  show_Exceed_CurrentLimit();
  	  flag_Exceed_CurrentLimit=0;
    }

    //Salida de voltaje de XL6019 OFF
    if(powerSupply==3 && flag_Exceed_CurrentLimit==0){
  	  powerSupply=0;
  	  OLED_Print_Text_DMA(3,100,2,"OFF");
  	  HAL_GPIO_WritePin(LED2_GPIO_Port, LED2_Pin, RESET);
  	  HAL_GPIO_WritePin(EN_XL6019_GPIO_Port, EN_XL6019_Pin, RESET);
  	  PWM_set_Freq_DutyCycle(1000,50,100);
  	  ENCO=0;//ver si eliminar esta linea
    }
}

void delay_us(uint32_t time){//esta funcion funciona mejor cambie uint16_t  a uint32_t y funciono mejor
	uint32_t delay = time *(HAL_RCC_GetHCLKFreq() / 1000000);
	for(int  i = 0; i < delay; i+=14){
		__ASM("NOP");
	}
}
/* USER CODE END 4 */

void Error_Handler(void)
{
  __disable_irq();
  while (1)
  {
  }
}
